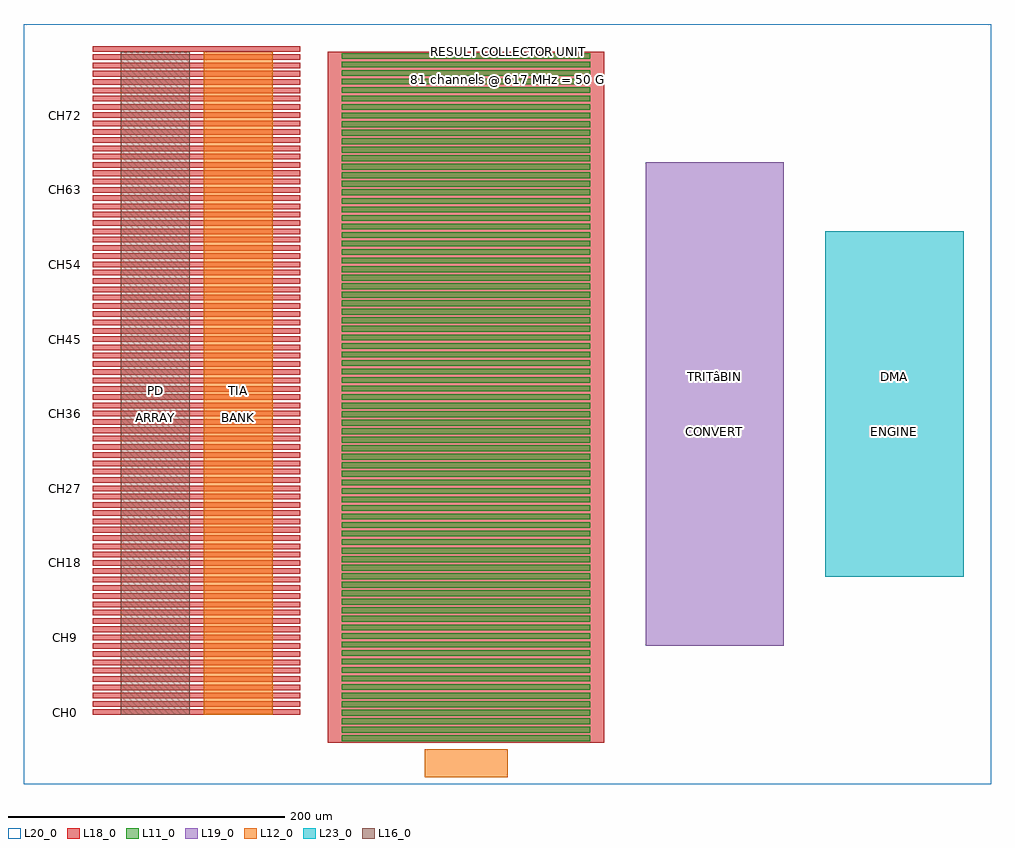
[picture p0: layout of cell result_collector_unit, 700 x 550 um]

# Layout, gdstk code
import gdstk
lib = gdstk.Library(unit=1e-6, precision=1e-09)
def R(c, l, rs):  # rectangles x0, y0, x1, y1
    for r in rs: c.add(gdstk.rectangle(r[:2], r[2:], *l))
def A(c, l, x, y, w, h, nx, ny, dx, dy):  # array of equal rectangles
    R(c, l, [(x+i*dx, y+j*dy, x+i*dx+w, y+j*dy+h) for i in range(nx) for j in range(ny)])
L11_0 = (11, 0)
L12_0 = (12, 0)
L16_0 = (16, 0)
L18_0 = (18, 0)
L19_0 = (19, 0)
L20_0 = (20, 0)
L23_0 = (23, 0)

accumulator_bank_81ch = lib.new_cell('accumulator_bank_81ch')
A(accumulator_bank_81ch, L11_0, 10, 1, 180, 4.173, 1, 3, 0, 6.173)
A(accumulator_bank_81ch, L11_0, 10, 19.519, 180, 4.172, 1, 4, 0, 37.037)
A(accumulator_bank_81ch, L11_0, 10, 25.691, 180, 4.173, 1, 5, 0, 6.173)
A(accumulator_bank_81ch, L11_0, 10, 62.728, 180, 4.173, 1, 5, 0, 6.173)
A(accumulator_bank_81ch, L11_0, 10, 99.765, 180, 4.173, 1, 5, 0, 6.173)
A(accumulator_bank_81ch, L11_0, 10, 136.802, 180, 4.173, 1, 6, 0, 6.173)
A(accumulator_bank_81ch, L11_0, 10, 173.84, 180, 4.172, 1, 5, 0, 37.037)
A(accumulator_bank_81ch, L11_0, 10, 180.012, 180, 4.173, 1, 5, 0, 6.173)
A(accumulator_bank_81ch, L11_0, 10, 217.049, 180, 4.173, 1, 5, 0, 6.173)
A(accumulator_bank_81ch, L11_0, 10, 254.086, 180, 4.173, 1, 5, 0, 6.173)
A(accumulator_bank_81ch, L11_0, 10, 291.123, 180, 4.173, 1, 5, 0, 6.173)
A(accumulator_bank_81ch, L11_0, 10, 328.16, 180, 4.173, 1, 6, 0, 6.173)
A(accumulator_bank_81ch, L11_0, 10, 365.198, 180, 4.172, 1, 4, 0, 37.037)
A(accumulator_bank_81ch, L11_0, 10, 371.37, 180, 4.173, 1, 5, 0, 6.173)
A(accumulator_bank_81ch, L11_0, 10, 408.407, 180, 4.173, 1, 5, 0, 6.173)
A(accumulator_bank_81ch, L11_0, 10, 445.444, 180, 4.173, 1, 5, 0, 6.173)
A(accumulator_bank_81ch, L11_0, 10, 482.481, 180, 4.173, 1, 3, 0, 6.173)
R(accumulator_bank_81ch, L12_0, [(70,-25,130,-5)])
R(accumulator_bank_81ch, L18_0, [(0,0,200,500)])
accumulator_bank_81ch.add(gdstk.Label('ACCUMULATOR', (100,515), layer=100, texttype=0))
accumulator_bank_81ch.add(gdstk.Label('BANK [80:0]', (100,505), layer=100, texttype=0))
accumulator_bank_81ch.add(gdstk.Label('ACC_CLR', (100,-35), layer=100, texttype=0))

result_collector_unit = lib.new_cell('result_collector_unit')
R(result_collector_unit, L12_0, [(130,50,180,530)])
R(result_collector_unit, L16_0, [(70,50,120,530)])
A(result_collector_unit, L18_0, 50, 50, 150, 4, 1, 81, 0, 6)
R(result_collector_unit, L19_0, [(450,100,550,450)])
R(result_collector_unit, L20_0, [(0,0,700,550)])
R(result_collector_unit, L23_0, [(580,150,680,400)])
result_collector_unit.add(gdstk.Reference(accumulator_bank_81ch, (220,30)))
result_collector_unit.add(gdstk.Label('RESULT COLLECTOR UNIT', (350,530), layer=100, texttype=0))
result_collector_unit.add(gdstk.Label('81 channels @ 617 MHz = 50 Gtrits/s', (350,510), layer=100, texttype=0))
result_collector_unit.add(gdstk.Label('CH0', (30,52), layer=100, texttype=0))
result_collector_unit.add(gdstk.Label('CH9', (30,106), layer=100, texttype=0))
result_collector_unit.add(gdstk.Label('CH18', (30,160), layer=100, texttype=0))
result_collector_unit.add(gdstk.Label('CH27', (30,214), layer=100, texttype=0))
result_collector_unit.add(gdstk.Label('CH36', (30,268), layer=100, texttype=0))
result_collector_unit.add(gdstk.Label('CH45', (30,322), layer=100, texttype=0))
result_collector_unit.add(gdstk.Label('CH54', (30,376), layer=100, texttype=0))
result_collector_unit.add(gdstk.Label('CH63', (30,430), layer=100, texttype=0))
result_collector_unit.add(gdstk.Label('CH72', (30,484), layer=100, texttype=0))
result_collector_unit.add(gdstk.Label('PD', (95,285), layer=100, texttype=0))
result_collector_unit.add(gdstk.Label('ARRAY', (95,265), layer=100, texttype=0))
result_collector_unit.add(gdstk.Label('TIA', (155,285), layer=100, texttype=0))
result_collector_unit.add(gdstk.Label('BANK', (155,265), layer=100, texttype=0))
result_collector_unit.add(gdstk.Label('TRITâ\x86\x92BIN', (500,295), layer=100, texttype=0))
result_collector_unit.add(gdstk.Label('CONVERT', (500,255), layer=100, texttype=0))
result_collector_unit.add(gdstk.Label('DMA', (630,295), layer=100, texttype=0))
result_collector_unit.add(gdstk.Label('ENGINE', (630,255), layer=100, texttype=0))

lib.write_gds('result_collector_unit.gds')
